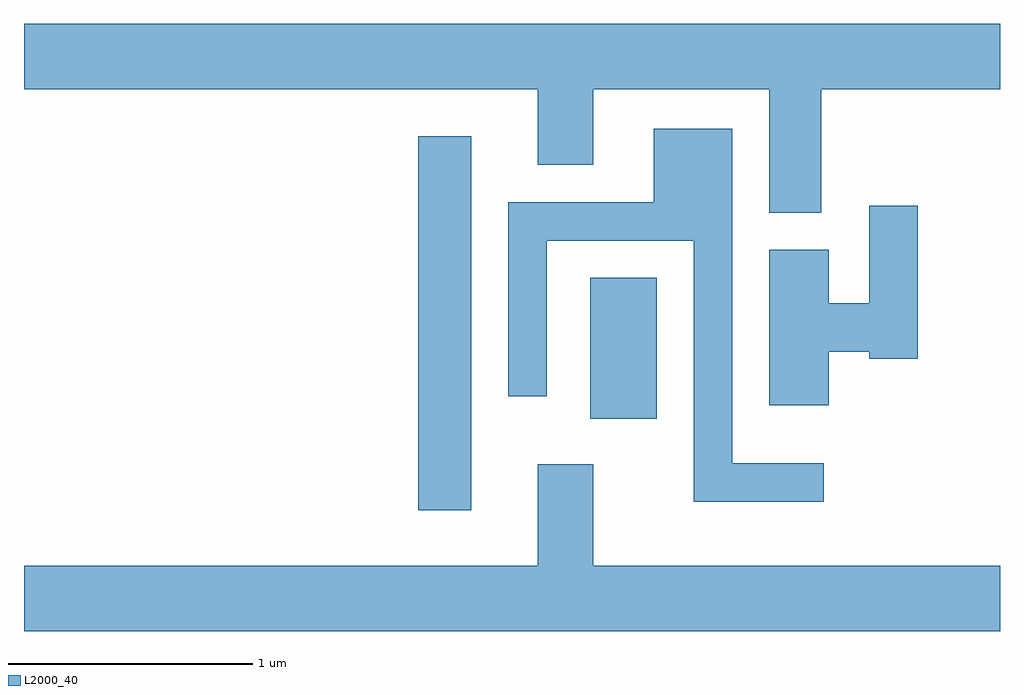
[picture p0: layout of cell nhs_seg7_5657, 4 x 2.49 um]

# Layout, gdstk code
import gdstk
lib = gdstk.Library(unit=1e-6, precision=1e-09)
def R(c, l, rs):  # rectangles x0, y0, x1, y1
    for r in rs: c.add(gdstk.rectangle(r[:2], r[2:], *l))
def P(c, l, *ps):  # polygons
    for p in ps: c.add(gdstk.Polygon(p, *l))
L2000_40 = (2000, 40)

nhs_seg7_5657 = lib.new_cell('nhs_seg7_5657')
R(nhs_seg7_5657, L2000_40, [(359.226,1774.751,359.444,1776.284), (359.931,1775.126,360.204,1775.704)])
P(nhs_seg7_5657, L2000_40, [(360.879,1776.476),(361.611,1776.476),(361.611,1776.744),(357.611,1776.744),(357.611,1776.476),(359.716,1776.476),(359.716,1776.166),(359.944,1776.166),(359.944,1776.476),(360.666,1776.476),(360.666,1775.971),(360.879,1775.971)],
  [(360.888,1774.944),(360.514,1774.944),(360.514,1776.314),(360.191,1776.314),(360.191,1776.014),(359.596,1776.014),(359.596,1775.218),(359.754,1775.218),(359.754,1775.856),(360.356,1775.856),(360.356,1774.786),(360.888,1774.786)],
  [(360.909,1775.401),(361.076,1775.401),(361.076,1775.371),(361.274,1775.371),(361.274,1775.999),(361.076,1775.999),(361.076,1775.599),(360.909,1775.599),(360.909,1775.819),(360.666,1775.819),(360.666,1775.181),(360.909,1775.181)],
  [(361.611,1774.524),(359.944,1774.524),(359.944,1774.939),(359.716,1774.939),(359.716,1774.524),(357.611,1774.524),(357.611,1774.256),(361.611,1774.256)])

lib.write_gds('nhs_seg7_5657.gds')
